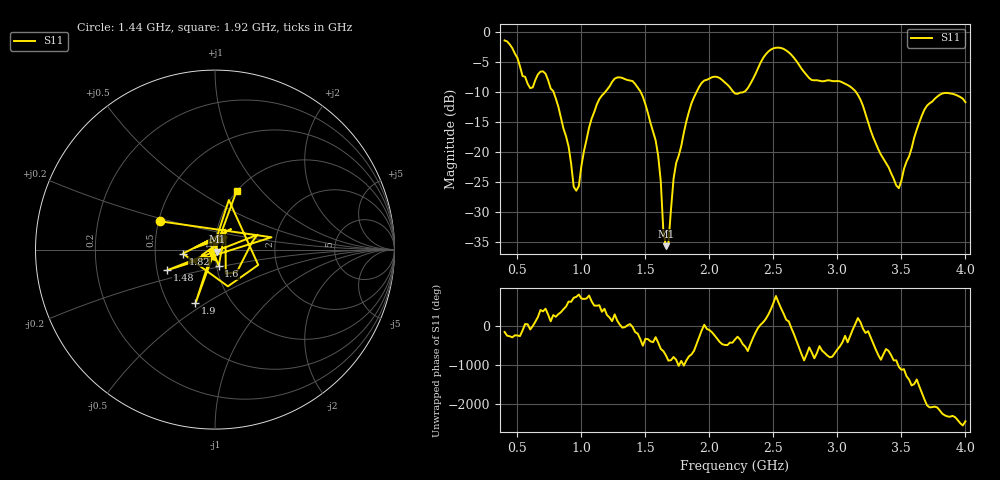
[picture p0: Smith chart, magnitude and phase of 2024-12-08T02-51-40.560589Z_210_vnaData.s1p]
!Created with skrf (http://scikit-rf.org).
# Hz S RI R 50.0
!freq ReS11 ImS11
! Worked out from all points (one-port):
!   181 points, 400 MHz to 4 GHz, reference 50 ohm
!   lowest |S11| = -35.7 dB at 1.66 GHz (marker M1), VSWR 1.03, Z = 51.2 - j1.12 ohm
!   |S11| at or under -10 dB: 782.9 MHz to 1.184 GHz (401.5 MHz wide, 40.8 % of centre); 1.464 GHz to 1.899 GHz (435.3 MHz wide, 25.9 % of centre); 3.146 GHz to end of sweep (the widest 3 of 4)
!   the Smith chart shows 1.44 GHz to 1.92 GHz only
!   S11 on the Smith chart (normalised r, x): 1.44 GHz: 0.51, +0.18; 1.48 GHz: 0.57, -0.14; 1.6 GHz: 1.02, -0.19; 1.82 GHz: 0.70, -0.03; 1.9 GHz: 0.68, -0.45; 1.92 GHz: 1.00, +0.75
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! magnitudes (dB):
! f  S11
! 400 MHz  -1.4
! 600 MHz  -9.3
! 720 MHz  -6.9
! 860 MHz  -16.1
! 960 MHz  -26.4
! 1.12 GHz  -12.1
! 1.3 GHz  -7.5
! 1.44 GHz  -9.2
! 1.48 GHz  -10.8
! 1.6 GHz  -20.6
! 1.64 GHz  -33.1
! 1.66 GHz  -35.7
! 1.68 GHz  -35.1
! 1.72 GHz  -24.4
! 1.76 GHz  -20.6
! 1.82 GHz  -14.9
! 1.9 GHz  -10.0
! 1.92 GHz  -9.1
! 2.06 GHz  -7.5
! 2.2 GHz  -10.2
! 2.48 GHz  -2.9
! 2.66 GHz  -4.3
! 2.8 GHz  -8.0
! 3.1 GHz  -9.1
! 3.46 GHz  -25.6
! 3.56 GHz  -20.7
! 3.7 GHz  -12.2
! 4 GHz  -11.7
